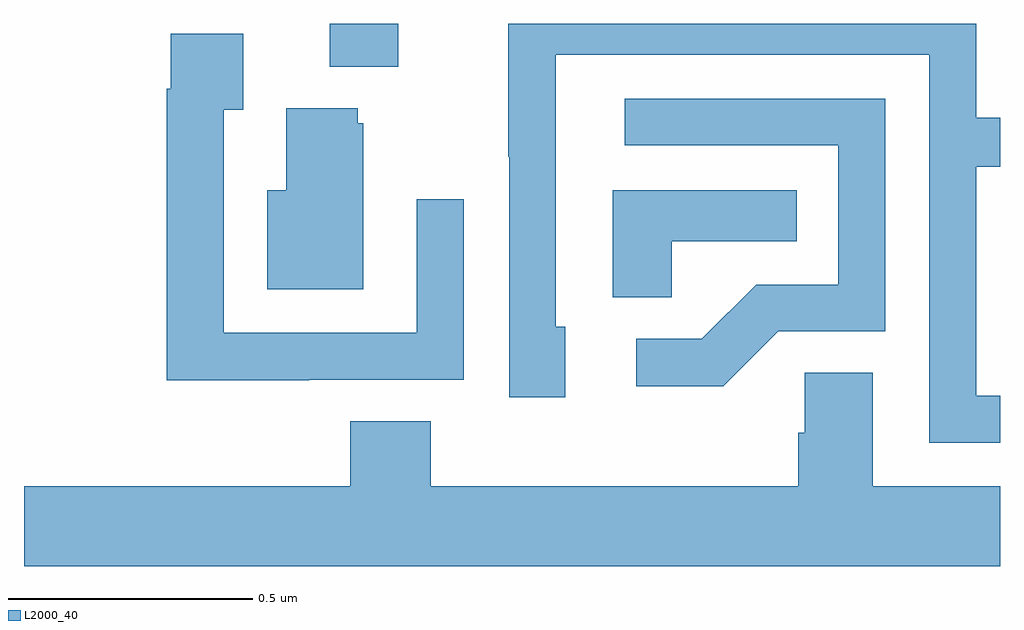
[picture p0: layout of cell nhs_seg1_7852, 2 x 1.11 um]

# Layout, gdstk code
import gdstk
lib = gdstk.Library(unit=1e-6, precision=1e-09)
def R(c, l, rs):  # rectangles x0, y0, x1, y1
    for r in rs: c.add(gdstk.rectangle(r[:2], r[2:], *l))
def P(c, l, *ps):  # polygons
    for p in ps: c.add(gdstk.Polygon(p, *l))
L2000_40 = (2000, 40)

nhs_seg1_7852 = lib.new_cell('nhs_seg1_7852')
R(nhs_seg1_7852, L2000_40, [(209.627,530.111,209.767,530.199)])
P(nhs_seg1_7852, L2000_40, [(211,529.437),(210.951,529.437),(210.951,529.906),(211,529.906),(211,530.007),(210.951,530.007),(210.951,530.199),(209.992,530.199),(209.992,529.927),(209.994,529.927),(209.994,529.434),(210.109,529.434),(210.109,529.578),(210.09,529.578),(210.09,530.136),(210.855,530.136),(210.855,529.341),(211,529.341)],
  [(209.585,529.47),(209.901,529.47),(209.901,529.84),(209.805,529.84),(209.805,529.566),(209.409,529.566),(209.409,530.023),(209.449,530.023),(209.449,530.179),(209.301,530.179),(209.301,530.066),(209.293,530.066),(209.293,529.469),(209.585,529.469)],
  [(210.546,529.569),(210.765,529.569),(210.765,530.046),(210.231,530.046),(210.231,529.95),(210.669,529.95),(210.669,529.665),(210.5,529.665),(210.389,529.554),(210.255,529.554),(210.255,529.457),(210.433,529.457)],
  [(209.695,529.995),(209.684,529.995),(209.684,530.026),(209.537,530.026),(209.537,529.858),(209.498,529.858),(209.498,529.655),(209.695,529.655)],
  [(210.327,529.754),(210.584,529.754),(210.584,529.858),(210.206,529.858),(210.206,529.639),(210.327,529.639)],
  [(211,529.252),(210.739,529.252),(210.739,529.484),(210.6,529.484),(210.6,529.361),(210.587,529.361),(210.587,529.252),(209.834,529.252),(209.834,529.385),(209.669,529.385),(209.669,529.252),(209,529.252),(209,529.088),(211,529.088)])

lib.write_gds('nhs_seg1_7852.gds')
